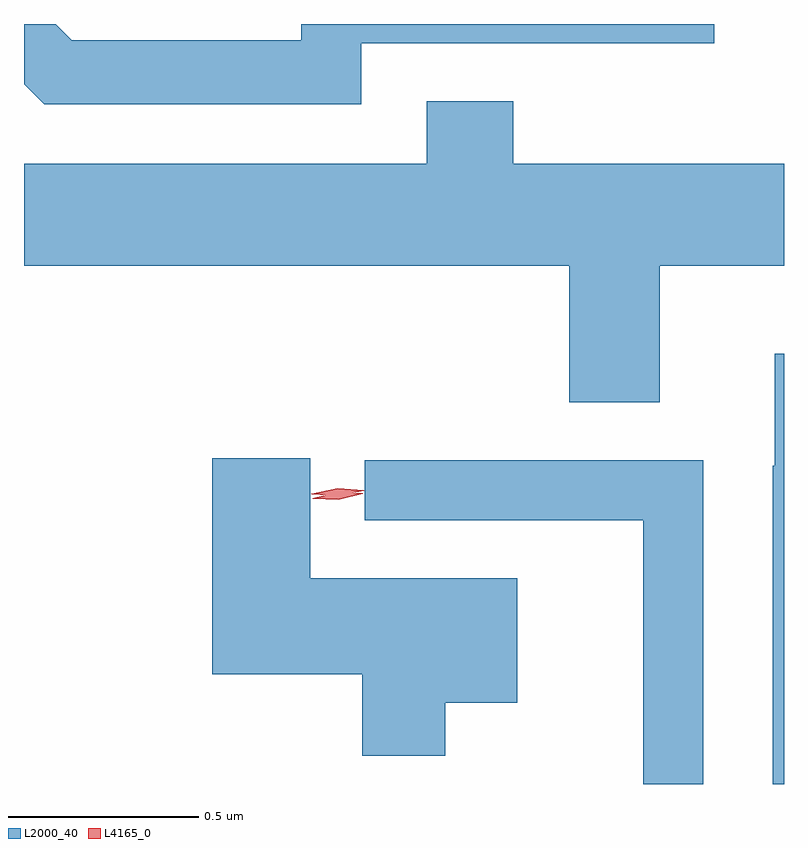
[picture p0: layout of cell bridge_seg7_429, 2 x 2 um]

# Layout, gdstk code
import gdstk
lib = gdstk.Library(unit=1e-6, precision=1e-09)
def P(c, l, *ps):  # polygons
    for p in ps: c.add(gdstk.Polygon(p, *l))
L2000_40 = (2000, 40)
L4165_0 = (4165, 0)

bridge_seg7_429 = lib.new_cell('bridge_seg7_429')
P(bridge_seg7_429, L2000_40, [(1124.749,1714.901),(1125.678,1714.901),(1125.678,1714.952),(1124.591,1714.952),(1124.591,1714.909),(1123.987,1714.909),(1123.944,1714.952),(1123.861,1714.952),(1123.861,1714.794),(1123.914,1714.741),(1124.749,1714.741)],
  [(1125.534,1714.316),(1125.861,1714.316),(1125.861,1714.584),(1125.149,1714.584),(1125.149,1714.749),(1124.921,1714.749),(1124.921,1714.584),(1123.861,1714.584),(1123.861,1714.316),(1125.296,1714.316),(1125.296,1713.956),(1125.534,1713.956)],
  [(1125.861,1714.084),(1125.836,1714.084),(1125.836,1713.79),(1125.831,1713.79),(1125.831,1712.952),(1125.861,1712.952)],
  [(1124.969,1713.166),(1125.159,1713.166),(1125.159,1713.494),(1124.614,1713.494),(1124.614,1713.809),(1124.356,1713.809),(1124.356,1713.241),(1124.751,1713.241),(1124.751,1713.026),(1124.969,1713.026)],
  [(1125.649,1713.804),(1124.758,1713.804),(1124.758,1713.646),(1125.491,1713.646),(1125.491,1712.952),(1125.649,1712.952)])
P(bridge_seg7_429, L4165_0, [(1124.687,1713.71),(1124.618,1713.715),(1124.617,1713.716),(1124.618,1713.716),(1124.686,1713.73),(1124.755,1713.725),(1124.756,1713.724),(1124.755,1713.724)],
  [(1124.688,1713.7),(1124.621,1713.703),(1124.621,1713.704),(1124.621,1713.704),(1124.686,1713.72),(1124.752,1713.717),(1124.753,1713.716),(1124.752,1713.716)])

lib.write_gds('bridge_seg7_429.gds')
